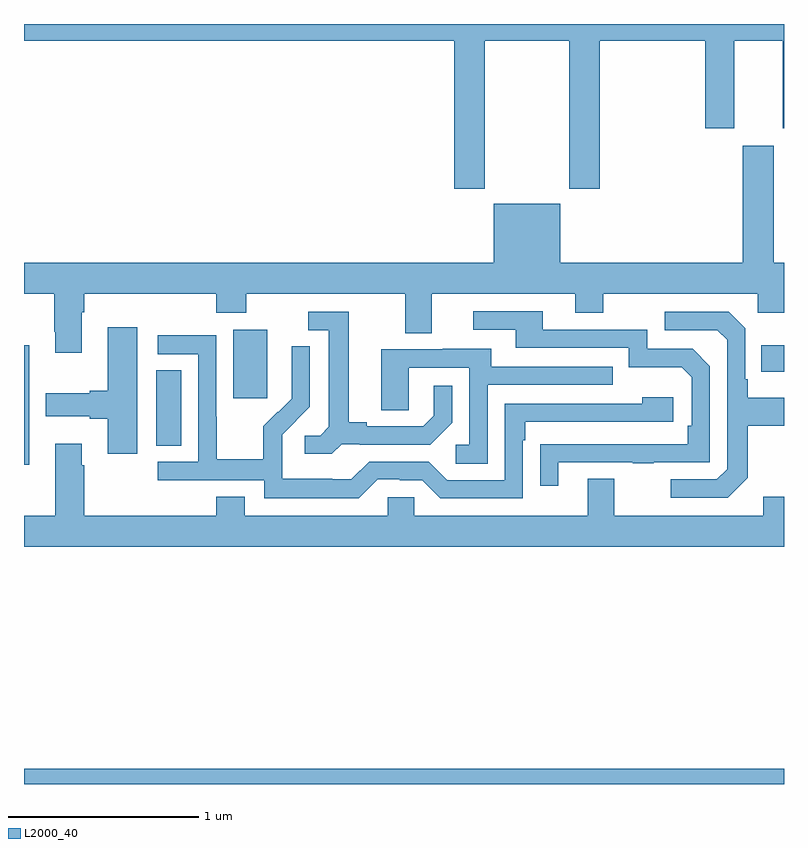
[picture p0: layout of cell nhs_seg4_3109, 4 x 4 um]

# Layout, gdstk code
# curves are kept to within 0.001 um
import gdstk
lib = gdstk.Library(unit=1e-6, precision=1e-09)
def R(c, l, rs):  # rectangles x0, y0, x1, y1
    for r in rs: c.add(gdstk.rectangle(r[:2], r[2:], *l))
def P(c, l, *ps):  # polygons
    for p in ps: c.add(gdstk.Polygon(p, *l))
L2000_40 = (2000, 40)

nhs_seg4_3109 = lib.new_cell('nhs_seg4_3109')
R(nhs_seg4_3109, L2000_40, [(275,800.9,279,800.98), (275,802.581,275.028,803.209), (275.696,802.681,275.827,803.078), (276.101,802.929,276.28,803.29), (278.881,803.069,279,803.209)])
P(nhs_seg4_3109, L2000_40, [(277.425,804.812),(277.87,804.812),(277.87,804.033),(278.03,804.033),(278.03,804.812),(278.585,804.812),(278.585,804.351),(278.737,804.351),(278.737,804.812),(278.993,804.812),(278.993,804.351),(279,804.351),(279,804.9),(275,804.9),(275,804.812),(277.265,804.812),(277.265,804.033),(277.425,804.033)],
  [(275.305,803.384),(275.318,803.384),(275.318,803.48),(276.011,803.48),(276.011,803.381),(276.171,803.381),(276.171,803.48),(277.007,803.48),(277.007,803.272),(277.147,803.272),(277.147,803.48),(277.901,803.48),(277.901,803.381),(278.049,803.381),(278.049,803.48),(278.862,803.48),(278.862,803.381),(279,803.381),(279,803.644),(278.947,803.644),(278.947,804.259),(278.783,804.259),(278.783,803.644),(277.822,803.644),(277.822,803.953),(277.472,803.953),(277.472,803.644),(275,803.644),(275,803.48),(275.158,803.48),(275.158,803.281),(275.165,803.281),(275.165,803.169),(275.305,803.169)],
  [(277.813,802.593),(278.203,802.593),(278.203,802.588),(278.315,802.588),(278.315,802.593),(278.61,802.593),(278.61,803.1),(278.52,803.19),(278.28,803.19),(278.28,803.292),(277.729,803.292),(277.729,803.388),(277.365,803.388),(277.365,803.292),(277.589,803.292),(277.589,803.196),(278.184,803.196),(278.184,803.093),(278.461,803.093),(278.514,803.04),(278.514,802.786),(278.494,802.786),(278.494,802.689),(277.717,802.688),(277.717,802.47),(277.813,802.47)],
  [(276.672,802.689),(276.766,802.689),(276.766,802.686),(277.138,802.686),(277.254,802.802),(277.254,802.996),(277.157,802.996),(277.157,802.839),(277.1,802.782),(276.805,802.782),(276.805,802.805),(276.709,802.805),(276.709,803.385),(276.495,803.385),(276.495,803.289),(276.605,803.289),(276.605,802.781),(276.558,802.734),(276.477,802.734),(276.477,802.637),(276.62,802.637)],
  [(278.809,802.513),(278.809,802.786),(279,802.786),(279,802.933),(278.809,802.933),(278.809,803.029),(278.796,803.029),(278.796,803.298),(278.709,803.385),(278.373,803.385),(278.373,803.289),(278.649,803.289),(278.7,803.238),(278.7,802.557),(278.646,802.503),(278.403,802.503),(278.403,802.407),(278.703,802.407)],
  [(275.596,803.305),(275.441,803.305),(275.441,802.97),(275.345,802.97),(275.345,802.957),(275.115,802.957),(275.115,802.835),(275.345,802.835),(275.345,802.823),(275.441,802.823),(275.441,802.638),(275.596,802.638)],
  [(276.861,802.503),(276.977,802.503),(276.977,802.5),(277.095,802.5),(277.191,802.404),(277.626,802.404),(277.626,802.709),(277.639,802.709),(277.639,802.806),(278.416,802.806),(278.416,802.936),(278.255,802.936),(278.255,802.902),(277.53,802.902),(277.53,802.5),(277.227,802.5),(277.131,802.596),(276.816,802.596),(276.723,802.503),(276.623,802.503),(276.623,802.507),(276.36,802.507),(276.36,802.641),(276.358,802.641),(276.358,802.738),(276.504,802.886),(276.504,803.204),(276.408,803.204),(276.408,803.05),(276.41,803.05),(276.41,802.928),(276.339,802.857),(276.336,802.86),(276.259,802.783),(276.259,802.609),(276.015,802.609),(276.015,802.832),(276.012,802.832),(276.012,803.262),(275.703,803.262),(275.703,803.163),(275.916,803.163),(275.916,802.596),(275.703,802.596),(275.703,802.5),(276.264,802.5),(276.264,802.403),(276.761,802.403)],
  [(277.44,803.001),(278.099,803.001),(278.099,803.097),(277.459,803.097),(277.459,803.191),(277.205,803.191),(277.205,803.187),(276.881,803.187),(276.881,802.867),(277.026,802.867),(277.026,803.091),(277.344,803.091),(277.344,802.686),(277.272,802.686),(277.272,802.585),(277.44,802.585)],
  [(279,802.411),(278.891,802.411),(278.891,802.312),(278.107,802.312),(278.107,802.507),(277.967,802.507),(277.967,802.312),(277.053,802.312),(277.053,802.41),(276.915,802.41),(276.915,802.312),(276.163,802.312),(276.163,802.411),(276.011,802.411),(276.011,802.312),(275.318,802.312),(275.318,802.577),(275.305,802.577),(275.305,802.69),(275.165,802.69),(275.165,802.312),(275,802.312),(275,802.148),(279,802.148)])

lib.write_gds('nhs_seg4_3109.gds')
